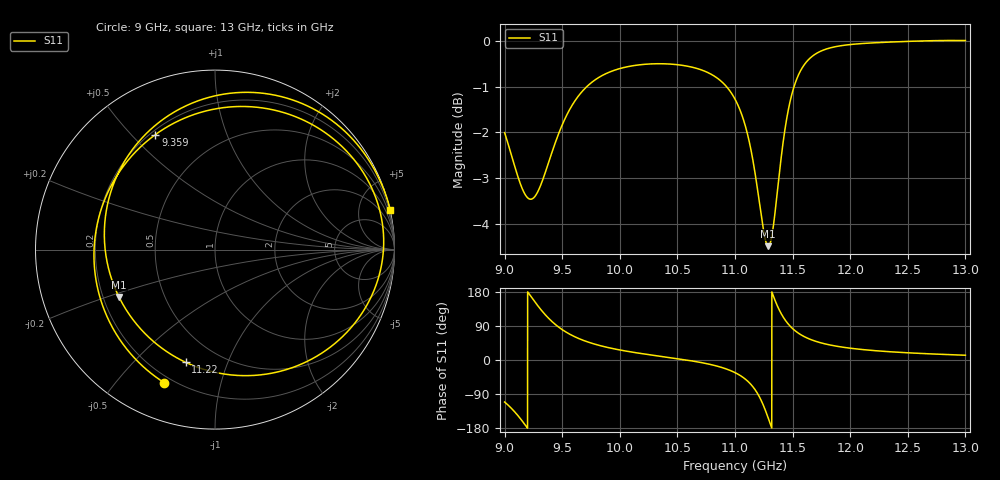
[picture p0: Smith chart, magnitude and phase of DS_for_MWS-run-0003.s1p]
! TOUCHSTONE file generated by CST DESIGN STUDIO
! Date and time: Tue Feb  4 16:00:32 2025
! Project name: C:\Work\MatlabApps\UnitCellOptimizationMatlab\CST\unitcell.cst
! Tree item: Tasks\Sweep1\SPara1\S-Parameters
! Header version: 2024
! Port assignment regex: !\s*Touchstone port\s*([0-9]+)\s*=\s*(CST MWS port|CST DES external port|CST DES block port)\s*(.+)\s* \(\"(.*)\"\)(\s*mode\s*([0-9]+))?.*
! Touchstone port assignment:
! Touchstone port 1 = CST DES external port 1 ("")
# GHz S MA R 50
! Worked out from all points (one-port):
!   4001 points, 9 GHz to 13 GHz, reference 50 ohm
!   lowest |S11| = -4.5 dB at 11.29 GHz (marker M1), VSWR 3.96, Z = 13.3 - j10.9 ohm
!   |S11| at or under -10 dB: nowhere
!   S11 on the Smith chart (normalised r, x): 9 GHz: 0.17, -0.68; 9.359 GHz: 0.22, +0.59; 11.22 GHz: 0.33, -0.72; 13 GHz: -0.02, +9.06
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9  0.7937 -110.8
9.086  0.7305 -136.3
9.189  0.6761 -175.7
9.266  0.6767 152.1
9.359  0.7217 117.4
9.425  0.7643 97.8
9.5  0.8093 80.2
9.603  0.8569 62.3
9.714  0.8912 48.5
10  0.9325 26.5
10.5  0.9416 3.5
10.812  0.9163 -13.6
11  0.8635 -33.3
11.118  0.7816 -58.1
11.178  0.7118 -80.0
11.224  0.6491 -104.5
11.256  0.6124 -126.8
11.289  0.5965 -153.7
11.341  0.6389 162.5
11.401  0.7456 122.4
11.447  0.8197 100.7
11.5  0.8801 82.9
11.585  0.9349 64.3
11.687  0.9651 50.7
11.819  0.9817 40.0
12  0.9905 31.1
12.5  0.9984 19.0
13  1.001 12.6
